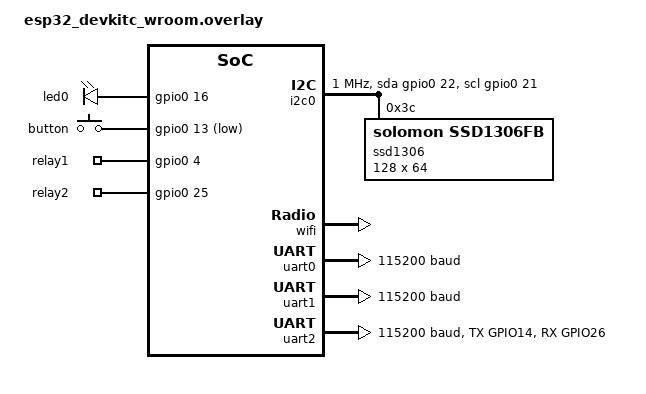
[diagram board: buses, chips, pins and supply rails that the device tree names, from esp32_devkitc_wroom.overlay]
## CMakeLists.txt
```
# SPDX-License-Identifier: Apache-2.0

cmake_minimum_required(VERSION 3.20.0)
find_package(Zephyr REQUIRED HINTS $ENV{ZEPHYR_BASE})
project(protecli_ups_esp32)

FILE(GLOB app_sources
    src/*.c
)

target_sources(app PRIVATE ${app_sources})

set(gen_dir ${ZEPHYR_BINARY_DIR}/include/generated/)

foreach(inc_file
	index.html.bin
    )
  generate_inc_file_for_target(
    app
    src/${inc_file}
    ${gen_dir}/${inc_file}.inc
    )
endforeach()
```

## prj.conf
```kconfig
CONFIG_GPIO=y
CONFIG_LOG=y

CONFIG_DISPLAY=y
CONFIG_CFB_LOG_LEVEL_DBG=y
CONFIG_CHARACTER_FRAMEBUFFER=y
# CONFIG_CHARACTER_FRAMEBUFFER_ROTATE=y

CONFIG_STDOUT_CONSOLE=y
CONFIG_PRINTK=y

CONFIG_SPI=y

CONFIG_SERIAL=y
CONFIG_UART_INTERRUPT_DRIVEN=y

CONFIG_FPU=y
CONFIG_NEWLIB_LIBC=y
CONFIG_NEWLIB_LIBC_FLOAT_PRINTF=y
CONFIG_NEWLIB_LIBC_FLOAT_SCANF=y

CONFIG_EARLY_CONSOLE=y

CONFIG_NETWORKING=y
CONFIG_TEST_RANDOM_GENERATOR=y

CONFIG_NET_TX_STACK_SIZE=2048
CONFIG_NET_RX_STACK_SIZE=2048

CONFIG_NET_PKT_RX_COUNT=10
CONFIG_NET_PKT_TX_COUNT=10
CONFIG_NET_BUF_RX_COUNT=20
CONFIG_NET_BUF_TX_COUNT=20
CONFIG_NET_MAX_CONTEXTS=10
CONFIG_NET_DHCPV4=y

CONFIG_NET_IPV4=y
CONFIG_NET_IPV6=n

CONFIG_NET_UDP=y
CONFIG_NET_TCP=y
CONFIG_NET_SOCKETS=y
CONFIG_NET_SOCKETS_POSIX_NAMES=y

CONFIG_NET_LOG=y
CONFIG_INIT_STACKS=y

CONFIG_NET_SHELL=y

CONFIG_WIFI=y
CONFIG_WIFI_LOG_LEVEL_ERR=y
CONFIG_NET_L2_WIFI_SHELL=y

# CONFIG_HEAP_MEM_POOL_SIZE=48304

CONFIG_NET_STATISTICS=y

CONFIG_NET_L2_ETHERNET=y

CONFIG_ESP32_WIFI_STA_AUTO_DHCPV4=y

# Networking config
CONFIG_NET_MAX_CONN=3
CONFIG_NET_CONNECTION_MANAGER=y

# CONFIG_ESP_HEAP_MEM_POOL_REGION_1_SIZE=4600

CONFIG_NET_MGMT_EVENT_QUEUE_SIZE=10
CONFIG_NET_MGMT_EVENT_QUEUE_TIMEOUT=20
```

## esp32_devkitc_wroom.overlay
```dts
#include <zephyr/dt-bindings/pwm/pwm.h>

/ {
    leds {
        compatible = "gpio-leds";
        led0: led_0 {
            gpios = <&gpio0 16 GPIO_ACTIVE_HIGH>;
        };
    };

    buttons {
        compatible = "gpio-keys";
        button: button_0 {
            gpios = <&gpio0 13 (GPIO_ACTIVE_LOW | GPIO_PULL_UP)>;
        };
    };


    relays {
        compatible = "gpio-leds";
        relay1: relay_1 {
            gpios = <&gpio0 4 GPIO_ACTIVE_HIGH>;
        };

        relay2: relay_2 {
            gpios = <&gpio0 25 GPIO_ACTIVE_HIGH>;
        };
    };

    aliases {
        uart-0 = &uart0;
        i2c-0 = &i2c0;
        watchdog0 = &wdt0;
    };

    chosen {
        zephyr,sram = &sram0;
        zephyr,console = &uart0;
        zephyr,shell-uart = &uart0;
        zephyr,mcu-uart = &uart2;
        zephyr,flash = &flash0;
        zephyr,display = &ssd1306;
    };
};

&i2c0 {
    status = "okay";
    clock-frequency = <I2C_BITRATE_FAST_PLUS>;
    sda-gpios = <&gpio0 22 GPIO_OPEN_DRAIN>;
    scl-gpios = <&gpio0 21 GPIO_OPEN_DRAIN>;
    pinctrl-0 = <&i2c0_default>;
    pinctrl-names = "default";
    ssd1306: ssd1306@3c {
            compatible = "solomon,ssd1306fb";
            reg = <0x3c>;
            width = <128>;
            height = <64>;
            segment-offset = <0>;
            page-offset = <0>;
            display-offset = <0>;
            multiplex-ratio = <63>;
            prechargep = <0x22>;

            // reset-gpios = <&gpioa 8 GPIO_ACTIVE_HIGH>;
        };
};

&wifi {
	status = "okay";
};

&uart0 {
    status = "okay";
    current-speed = <115200>;
    pinctrl-0 = <&uart0_default>;
    pinctrl-names = "default";
};

&uart1 {
    current-speed = <115200>;
    pinctrl-0 = <&uart1_default>;
    pinctrl-names = "default";
};


&uart2 {
    status = "okay";
    current-speed = <115200>;
    pinctrl-0 = <&uart2_default>;
    pinctrl-names = "default";
};

&pinctrl {
    uart2_default: uart2_default {
		group1 {
			pinmux = <UART2_TX_GPIO14>;
		};
		group2 {
			pinmux = <UART2_RX_GPIO26>;
		};
	};

    i2c0_default: i2c0_default {
		group1 {
			pinmux = <I2C0_SDA_GPIO22>,
				 <I2C0_SCL_GPIO21>;
			bias-pull-up;
			drive-open-drain;
			output-high;
		};
	};
};
```

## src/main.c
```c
#include <stdio.h>
#include <zephyr/drivers/gpio.h>
#include <zephyr/drivers/spi.h>
#include <zephyr/drivers/uart.h>
#include <zephyr/kernel.h>

#include "msg.h"
#include "screen.h"
#include "http.h"

#define SLEEP_TIME_MS 5000
#define LED0_NODE     DT_ALIAS(led0)

#define MSG_SIZE 32

#define LOOP_SLEEP_MS 100U
#define PB_HOLD_PD_MS 1000U
#define PWR_DWN_INIT (PB_HOLD_PD_MS / LOOP_SLEEP_MS)


K_MSGQ_DEFINE(uart_msgq, MSG_SIZE, 10, 4);

static struct k_poll_signal spi_slave_done_sig =
	K_POLL_SIGNAL_INITIALIZER(spi_slave_done_sig);

static const struct gpio_dt_spec led =
	GPIO_DT_SPEC_GET(DT_NODELABEL(led0), gpios);

static const struct gpio_dt_spec pb =
	GPIO_DT_SPEC_GET(DT_NODELABEL(button), gpios);

static const struct gpio_dt_spec relay1 =
	GPIO_DT_SPEC_GET(DT_NODELABEL(relay1), gpios);

static const struct gpio_dt_spec relay2 =
	GPIO_DT_SPEC_GET(DT_NODELABEL(relay2), gpios);

static const struct device *const uart_dev =
	DEVICE_DT_GET(DT_CHOSEN(zephyr_mcu_uart));

/* receive buffer used in UART ISR callback */
static char rx_buf[MSG_SIZE];
static int rx_buf_pos = 0;

K_THREAD_STACK_DEFINE(screen_thd_stack_area, SCREEN_THD_STACK_SIZE);
struct k_thread screen_thd_data;

uint8_t pb_re = false;

void print_uart(char *buf, uint8_t msg_len)
{
	for (int i = 0; i < msg_len; i++) {
		uart_poll_out(uart_dev, buf[i]);
	}
}

/*
 * Read characters from UART until line end is detected. Afterwards push the
 * data to the message queue.
 */
void serial_cb(const struct device *dev, void *user_data)
{
	uint8_t c;

	if (!uart_irq_update(uart_dev)) {
		return;
	}

	if (!uart_irq_rx_ready(uart_dev)) {
		return;
	}

	while (uart_fifo_read(uart_dev, &c, 1) == 1) {
		if (!c && rx_buf_pos > sizeof(struct Msg)) {
			// We have a complete packet
			struct Msg msg = {};
			msg_cobs_decode(rx_buf, &msg);
			while (k_msgq_put(&uart_msgq, &msg, K_NO_WAIT) != 0) {
				k_msgq_purge(&uart_msgq);
			}
			rx_buf_pos = 0;
		} else if (c) {
			rx_buf[rx_buf_pos++] = c;
		}
	}
}

int main(void)
{
	int ret;
	char tx_buf[MSG_SIZE];
	char uartbuf[64] = {};
	struct Msg msg;

	printk("Starting Up!\n");

	if (!gpio_is_ready_dt(&led)) {
		return 0;
	}

	gpio_pin_configure_dt(&pb, GPIO_INPUT);
	gpio_pin_configure_dt(&led, GPIO_OUTPUT_ACTIVE);
	gpio_pin_configure_dt(&relay1, GPIO_OUTPUT_ACTIVE);
	gpio_pin_configure_dt(&relay2, GPIO_OUTPUT_ACTIVE);

	if (!device_is_ready(uart_dev)) {
		printk("UART device not found!");
		return 0;
	}

	screen_init();

	/* configure interrupt and callback to receive data */
	ret = uart_irq_callback_user_data_set(uart_dev, serial_cb, NULL);
	uart_irq_rx_enable(uart_dev);

	k_tid_t my_tid = k_thread_create(
		&screen_thd_data, screen_thd_stack_area,
		K_THREAD_STACK_SIZEOF(screen_thd_stack_area), screen_thread,
		NULL, NULL, NULL, SCREEN_THD_PRIORITY, 0, K_NO_WAIT);

	net_init();
	start_listener();
	// k_sem_take(&quit_lock, K_FOREVER);

	printk("Init Complete\n");
	int pwr_dwn = PWR_DWN_INIT;
	bool prev_pb_state = gpio_pin_get_dt(&pb);
	while (1) {
		if (gpio_pin_get_dt(&pb)) {
			if (!pwr_dwn--) {
				printk("Power Down Requested");
				memset(&msg, 0x00, sizeof(msg));
				msg.power_dwn = true;
				ret = msg_cobs_encode(msg, uartbuf);
				print_uart(uartbuf, ret);
				pwr_dwn = PWR_DWN_INIT;
			}
		}
		else {
			pwr_dwn = PWR_DWN_INIT;
		}

		if (gpio_pin_get_dt(&pb) && (prev_pb_state == false)) {
			// Rising Edge
			prev_pb_state = gpio_pin_get_dt(&pb);
			pb_re = true;
			gpio_pin_toggle_dt(&led);
		} else if (!gpio_pin_get_dt(&pb) && (prev_pb_state == true)) {
			// Falling Edge
			prev_pb_state = gpio_pin_get_dt(&pb);
		}

		k_sleep(K_MSEC(100U));
	}
	return 0;
}
```

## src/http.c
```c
#include <zephyr/net/net_ip.h>
#include <zephyr/net/socket.h>
#include <zephyr/net/tls_credentials.h>

#include <zephyr/net/net_mgmt.h>
#include <zephyr/net/net_event.h>
#include <zephyr/net/conn_mgr_monitor.h>

#include <stdio.h>

#include "http.h"

K_THREAD_STACK_ARRAY_DEFINE(tcp4_handler_stack, CONFIG_NET_SAMPLE_NUM_HANDLERS,
			    STACK_SIZE);

static struct k_thread tcp4_handler_thread[CONFIG_NET_SAMPLE_NUM_HANDLERS];
static k_tid_t tcp4_handler_tid[CONFIG_NET_SAMPLE_NUM_HANDLERS];

static struct net_mgmt_event_callback mgmt_cb;
static bool connected;
K_SEM_DEFINE(run_app, 0, 1);
K_SEM_DEFINE(quit_lock, 0, 1);
static bool running_status;
static bool want_to_quit;
static int tcp4_listen_sock;
static int tcp4_accepted[CONFIG_NET_SAMPLE_NUM_HANDLERS];

static void process_tcp4(void);

K_THREAD_DEFINE(tcp4_thread_id, STACK_SIZE, process_tcp4, NULL, NULL, NULL,
		THREAD_PRIORITY, 0, -1);

static const char index_content[] = {
#include "index.html.bin.inc"
};

static void event_handler(struct net_mgmt_event_callback *cb,
			  uint32_t mgmt_event, struct net_if *iface)
{
	if ((mgmt_event & EVENT_MASK) != mgmt_event) {
		return;
	}

	if (want_to_quit) {
		k_sem_give(&run_app);
		want_to_quit = false;
	}

	if (mgmt_event == NET_EVENT_L4_CONNECTED) {
		printk("Network connected\n");

		connected = true;
		k_sem_give(&run_app);

		return;
	}

	if (mgmt_event == NET_EVENT_L4_DISCONNECTED) {
		if (connected == false) {
			printk("Waiting network to be connected");
		} else {
			printk("Network disconnected");
			connected = false;
		}

		k_sem_reset(&run_app);

		return;
	}
}

static ssize_t sendall(int sock, const void *buf, size_t len)
{
	while (len) {
		ssize_t out_len = send(sock, buf, len, 0);

		if (out_len < 0) {
			return out_len;
		}

		buf = (const char *)buf + out_len;
		len -= out_len;
	}

	return 0;
}

static int setup(int *sock, struct sockaddr *bind_addr, socklen_t bind_addrlen)
{
	int ret;

	*sock = socket(bind_addr->sa_family, SOCK_STREAM, IPPROTO_TCP);
	if (*sock < 0) {
		printk("Failed to create TCP socket: %d", errno);
		return -errno;
	}

	ret = bind(*sock, bind_addr, bind_addrlen);
	if (ret < 0) {
		printk("Failed to bind TCP socket %d", errno);
		return -errno;
	}

	ret = listen(*sock, MAX_CLIENT_QUEUE);
	if (ret < 0) {
		printk("Failed to listen on TCP socket %d", errno);
		ret = -errno;
	}

	return ret;
}

void send_response(int socket, const char *header, const char *content_type,
		   const char *body)
{
	char response[1024];

	int len = sprintf(response, "%sContent-Type: %s\n\n%s", header,
			  content_type, body);

	if (len) {
		sendall(socket, response, len);
	} else {
		printk("sprintf Returned: %d", len);
	}
}

void handle_get_request(int client_fd, const char *path)
{
	size_t fileSize;
	if (strcmp(path, "/") == 0) {
		printk("Got / request");
		sendall(client_fd, index_content, sizeof(index_content));
	} else if (strcmp(path, "/hello") == 0) {
		send_response(client_fd, "HTTP/1.1 200 OK\n", "text/html",
			      "<html><body><h1>Hello, World from "
			      "/hello!</h1></body></html>");
	} else {
		send_response(
			client_fd, "HTTP/1.1 404 Not Found\n", "text/html",
			"<html><body><h1>404 Not Found</h1></body></html>");
	}
}

void handle_post_request(int client_fd, const char *path, const char *body)
{
	if (strcmp(path, "/submit") == 0) {
		printk("Got /submit POST: %s", body);
		send_response(client_fd, "HTTP/1.1 200 OK\n", "text/plain",
			      body);
	} else {
		send_response(
			client_fd, "HTTP/1.1 404 Not Found\n", "text/html",
			"<html><body><h1>404 Not Found</h1></body></html>");
	}
}

static void client_conn_handler(void *ptr1, void *ptr2, void *ptr3)
{
	ARG_UNUSED(ptr1);
	int *sock = ptr2;
	k_tid_t *in_use = ptr3;
	int client;
	int received;
	int ret;
	char buf[256];
	char method[16], path[256], *body;

	client = *sock;
	received = recv(client, buf, sizeof(buf), 0);
	sscanf(buf, "%s %s", method, path);

	if (received == 0) {
		/* Connection closed */
		printk("[%d] Connection closed by peer", client);
	} else if (received < 0) {
		/* Socket error */
		ret = -errno;
		printk("[%d] Connection error %d", client, ret);
	}

	body = strstr(buf, "\r\n\r\n");

	/* We received status from the client */
	if (strstr(buf, "\r\n\r\nOK")) {
		running_status = true;
		want_to_quit = true;
		k_sem_give(&quit_lock);
	} else if (strstr(buf, "\r\n\r\nFAIL")) {
		running_status = false;
		want_to_quit = true;
		k_sem_give(&quit_lock);
	} else if (strcmp(method, "GET") == 0) {
		handle_get_request(client, path);
	} else if (strcmp(method, "POST") == 0) {
		handle_post_request(client, path, body);
	} else {
		send_response(client, "HTTP/1.1 405 Method Not Allowed\n",
			      "text/html",
			      "<html><body><h1>405 Method Not "
			      "Allowed</h1></body></html>");
	}

	(void)close(client);

	*sock = -1;
	*in_use = NULL;
}

static int get_free_slot(int *accepted)
{
	int i;

	for (i = 0; i < CONFIG_NET_SAMPLE_NUM_HANDLERS; i++) {
		if (accepted[i] < 0) {
			return i;
		}
	}

	return -1;
}

static int process_tcp(int *sock, int *accepted)
{
	static int counter;
	int client;
	int slot;
	struct sockaddr_in6 client_addr;
	socklen_t client_addr_len = sizeof(client_addr);

	client = accept(*sock, (struct sockaddr *)&client_addr,
			&client_addr_len);

	if (client < 0) {
		printk("Error in accept %d, stopping server", -errno);
		return -errno;
	}

	slot = get_free_slot(accepted);
	if (slot < 0 || slot >= CONFIG_NET_SAMPLE_NUM_HANDLERS) {
		printk("Cannot accept more connections");
		close(client);
		return 0;
	}

	accepted[slot] = client;

	if (client_addr.sin6_family == AF_INET) {
		tcp4_handler_tid[slot] = k_thread_create(
			&tcp4_handler_thread[slot], tcp4_handler_stack[slot],
			K_THREAD_STACK_SIZEOF(tcp4_handler_stack[slot]),
			(k_thread_entry_t)client_conn_handler,
			INT_TO_POINTER(slot), &accepted[slot],
			&tcp4_handler_tid[slot], THREAD_PRIORITY, 0, K_NO_WAIT);
	}

	char addr_str[INET6_ADDRSTRLEN];

	net_addr_ntop(client_addr.sin6_family, &client_addr.sin6_addr, addr_str,
		      sizeof(addr_str));

	printk("[%d] Connection #%d from %s", client, ++counter, addr_str);

	return 0;
}

static void process_tcp4(void)
{
	struct sockaddr_in addr4;
	int ret;

	(void)memset(&addr4, 0, sizeof(addr4));
	addr4.sin_family = AF_INET;
	addr4.sin_port = htons(MY_PORT);

	ret = setup(&tcp4_listen_sock, (struct sockaddr *)&addr4,
		    sizeof(addr4));
	if (ret < 0) {
		return;
	}

	printk("Waiting for IPv4 HTTP connections on port %d, sock %d\n",
	       MY_PORT, tcp4_listen_sock);

	while (ret == 0 || !want_to_quit) {
		ret = process_tcp(&tcp4_listen_sock, tcp4_accepted);
		if (ret < 0) {
			return;
		}
	}
}

void start_listener(void)
{
	int i;

	for (i = 0; i < CONFIG_NET_SAMPLE_NUM_HANDLERS; i++) {
		tcp4_accepted[i] = -1;
		tcp4_listen_sock = -1;
	}

	if (IS_ENABLED(CONFIG_NET_IPV4)) {
		k_thread_start(tcp4_thread_id);
	}
}

void net_init(void)
{
	if (IS_ENABLED(CONFIG_NET_CONNECTION_MANAGER)) {
		net_mgmt_init_event_callback(&mgmt_cb, event_handler,
					     EVENT_MASK);
		net_mgmt_add_event_callback(&mgmt_cb);

		conn_mgr_mon_resend_status();

	}

	/* Wait for the connection. */
	// k_sem_take(&run_app, K_FOREVER);
	/* I think this might block waiting for net
	we probably do _not_ want this */
}
```

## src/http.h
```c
#define CONFIG_NET_SAMPLE_NUM_HANDLERS 2
#define STACK_SIZE                     4096
#define THREAD_PRIORITY                K_PRIO_PREEMPT(8)

#define EVENT_MASK (NET_EVENT_L4_CONNECTED | NET_EVENT_L4_DISCONNECTED)

#define MAX_CLIENT_QUEUE CONFIG_NET_SAMPLE_NUM_HANDLERS

#define MY_PORT 80

void net_init(void);
void start_listener(void);
```

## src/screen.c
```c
#include <zephyr/kernel.h>
#include <zephyr/drivers/display.h>
#include <zephyr/display/cfb.h>

#include "screen.h"
#include "protectli_logo.h"
#include "fw_version.h"
#include "msg.h"

#include <string.h>
#include <stdio.h>

const struct device *display;
char buf[256] = {};

extern struct k_msgq uart_msgq;
extern uint8_t pb_re;

// This should be hacked to allow more states
int inc_state(int state)
{
	if (state == VBAT) {
		state++;
	} else if (state == VOUT) {
		state = VBAT;
	}

	return state;
};

int screen_init(void)
{
	uint16_t rows;
	uint8_t ppt;
	uint8_t font_width;
	uint8_t font_height;

	display = DEVICE_DT_GET(DT_CHOSEN(zephyr_display));

	if (!device_is_ready(display)) {
		printk("Device %s not ready\n", display->name);
		return 0;
	}

	if (display_set_pixel_format(display, PIXEL_FORMAT_MONO10) != 0) {
		printk("Failed to set required pixel format\n");
		return 0;
	}

	if (cfb_framebuffer_init(display)) {
		printk("Framebuffer initialization failed!\n");
		return 0;
	}

	display_blanking_off(display);
	rows = cfb_get_display_parameter(display, CFB_DISPLAY_ROWS);
	ppt = cfb_get_display_parameter(display, CFB_DISPLAY_PPT);

	for (int idx = 0; idx < 42; idx++) {
		if (cfb_get_font_size(display, idx, &font_width,
				      &font_height)) {
			break;
		}
		if (font_height == 16) {
			cfb_framebuffer_set_font(display, idx);
		}

		printk("font width %d, font height %d\n", font_width,
		       font_height);
	}

	printk("x_res %d, y_res %d, ppt %d, rows %d, cols %d\n",
	       cfb_get_display_parameter(display, CFB_DISPLAY_WIDTH),
	       cfb_get_display_parameter(display, CFB_DISPLAY_HEIGH), ppt, rows,
	       cfb_get_display_parameter(display, CFB_DISPLAY_COLS));

	cfb_framebuffer_invert(display);
	return 0;
}

void screen_draw_battery()
{
	struct cfb_position p1, p2;
	p1.x = 98;
	p1.y = 50;
	p2.x = 120;
	p2.y = 60;
	cfb_draw_rect(display, &p1, &p2);
	p1.x = 121;
	p1.y = 52;
	p2.x = 124;
	p2.y = 58;
	cfb_draw_rect(display, &p1, &p2);
}

// Capacity 0 -> 100
void screen_fill_battery(int capacity)
{
	struct cfb_position p1, p2;
	capacity = capacity * 0.22;
	p1.y = 50;
	p2.y = 60;
	for (int i = 0; i <= 22; i++) {
		if (capacity > i) {
			p1.x = 98 + i;
			p2.x = 98 + i;
			cfb_draw_line(display, &p1, &p2);
		}
	}
}

void screen_draw_intro()
{
	memset(buf, 0x00, sizeof(buf));
	cfb_framebuffer_clear(display, true);

	draw_logo(display);
	sprintf(buf, "R1 FW: %d.%d", FW_VERSION, FW_SUBVERSION);
	cfb_draw_text(display, buf, 0, 50);

	cfb_framebuffer_finalize(display);
}

void screen_draw_error()
{
	memset(buf, 0x00, sizeof(buf));
	cfb_framebuffer_clear(display, true);

	sprintf(buf, "Error! No msg");
	cfb_draw_text(display, buf, 0, 0);
	sprintf(buf, "from RP2040!");
	cfb_draw_text(display, buf, 0, 20);

	cfb_framebuffer_finalize(display);
}
void screen_draw_banner(struct Msg msg)
{
	memset(buf, 0x00, sizeof(buf));

	screen_draw_battery();
	screen_fill_battery(msg.gas);
	if (msg.state == MSG_STATE_CHARGING) {
		sprintf(buf, "Char");
	} else {
		sprintf(buf, "Dischar");
	}
	cfb_draw_text(display, buf, 0, 46);
}

void screen_draw_vout(struct Msg msg)
{
	memset(buf, 0x00, sizeof(buf));
	cfb_framebuffer_clear(display, true);

	sprintf(buf, "Vout: %.2fV", (float)msg.vout / 1000);
	cfb_draw_text(display, buf, 0, 0);
	sprintf(buf, "Idis: %.1fA", (float)msg.iout / 1000);
	cfb_draw_text(display, buf, 0, 20);
	screen_draw_banner(msg);

	cfb_framebuffer_finalize(display);
}

void screen_draw_vbat(struct Msg msg)
{
	memset(buf, 0x00, sizeof(buf));
	cfb_framebuffer_clear(display, true);

	sprintf(buf, "Vbat: %.2fV", (float)msg.vbat / 1000);
	cfb_draw_text(display, buf, 0, 0);
	sprintf(buf, "Ichg: %.1fA", (float)msg.ibat / 1000);
	cfb_draw_text(display, buf, 0, 20);
	screen_draw_banner(msg);

	cfb_framebuffer_finalize(display);
}

void screen_thread(void *, void *, void *)
{
	int ret = 0;
	int delay_loops = DELAY_LOOPS;
	enum screen_state state = INTRO;
	screen_draw_intro();
	k_sleep(K_MSEC(5000U));
	state = VBAT;

	while (true) {
		struct Msg msg = {};
		ret = k_msgq_get(&uart_msgq, &msg, K_MSEC(1000));

		if (pb_re) {
			state = inc_state(state);
		}

		if (!delay_loops-- || pb_re) {
			pb_re = false;
			delay_loops = DELAY_LOOPS;

			if (ret != 0) {
				screen_draw_error();
			} else if (state == VBAT) {
				screen_draw_vbat(msg);
			} else if (state == VOUT) {
				screen_draw_vout(msg);
			}
		}
	}
}
```

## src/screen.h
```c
#pragma once

#define SCREEN_THD_STACK_SIZE 500
#define SCREEN_THD_PRIORITY   5

#define DELAY_LOOPS 10

void screen_thread(void *, void *, void *);
int screen_init(void);

enum screen_state {
	INTRO = 0,
	ERR,
	VBAT,
	VOUT
};
```
